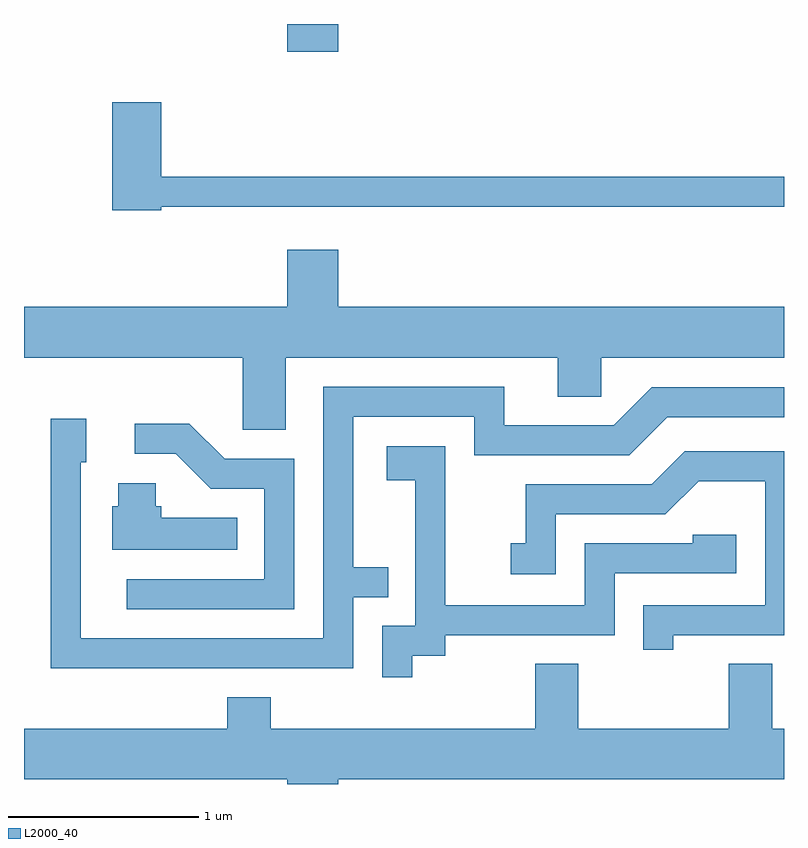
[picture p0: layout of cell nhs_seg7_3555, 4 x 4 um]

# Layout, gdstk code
import gdstk
lib = gdstk.Library(unit=1e-6, precision=1e-09)
def R(c, l, rs):  # rectangles x0, y0, x1, y1
    for r in rs: c.add(gdstk.rectangle(r[:2], r[2:], *l))
def P(c, l, *ps):  # polygons
    for p in ps: c.add(gdstk.Polygon(p, *l))
L2000_40 = (2000, 40)

nhs_seg7_3555 = lib.new_cell('nhs_seg7_3555')
R(nhs_seg7_3555, L2000_40, [(294.996,1758.106,295.264,1758.252)])
P(nhs_seg7_3555, L2000_40, [(294.334,1757.291),(297.611,1757.291),(297.611,1757.449),(294.334,1757.449),(294.334,1757.839),(294.076,1757.839),(294.076,1757.271),(294.334,1757.271)],
  [(295.264,1757.064),(294.996,1757.064),(294.996,1756.764),(293.611,1756.764),(293.611,1756.496),(294.761,1756.496),(294.761,1756.116),(294.989,1756.116),(294.989,1756.496),(296.421,1756.496),(296.421,1756.291),(296.649,1756.291),(296.649,1756.496),(297.611,1756.496),(297.611,1756.764),(295.264,1756.764)],
  [(295.344,1755.236),(295.528,1755.236),(295.528,1755.394),(295.344,1755.394),(295.344,1756.186),(295.981,1756.186),(295.981,1755.981),(296.797,1755.981),(296.997,1756.181),(297.611,1756.181),(297.611,1756.339),(296.914,1756.339),(296.714,1756.139),(296.139,1756.139),(296.139,1756.344),(295.186,1756.344),(295.186,1755.019),(293.909,1755.019),(293.909,1755.946),(293.939,1755.946),(293.939,1756.174),(293.751,1756.174),(293.751,1754.861),(295.344,1754.861)],
  [(295.034,1755.964),(294.667,1755.964),(294.482,1756.149),(294.193,1756.149),(294.193,1755.991),(294.409,1755.991),(294.594,1755.806),(294.876,1755.806),(294.876,1755.329),(294.153,1755.329),(294.153,1755.171),(295.034,1755.171)],
  [(295.654,1754.926),(295.829,1754.926),(295.829,1755.036),(296.719,1755.036),(296.719,1755.361),(297.359,1755.361),(297.359,1755.564),(297.131,1755.564),(297.131,1755.519),(296.561,1755.519),(296.561,1755.194),(295.829,1755.194),(295.829,1756.029),(295.521,1756.029),(295.521,1755.851),(295.671,1755.851),(295.671,1755.084),(295.496,1755.084),(295.496,1754.813),(295.654,1754.813)],
  [(297.029,1755.036),(297.611,1755.036),(297.611,1756.004),(297.089,1756.004),(296.914,1755.829),(296.251,1755.829),(296.251,1755.519),(296.173,1755.519),(296.173,1755.356),(296.409,1755.356),(296.409,1755.671),(296.987,1755.671),(297.162,1755.846),(297.511,1755.846),(297.511,1755.194),(296.871,1755.194),(296.871,1754.958),(297.029,1754.958)],
  [(294.733,1755.654),(294.334,1755.654),(294.334,1755.714),(294.304,1755.714),(294.304,1755.834),(294.106,1755.834),(294.106,1755.714),(294.076,1755.714),(294.076,1755.486),(294.733,1755.486)],
  [(295.264,1754.276),(297.611,1754.276),(297.611,1754.544),(297.549,1754.544),(297.549,1754.884),(297.321,1754.884),(297.321,1754.544),(296.529,1754.544),(296.529,1754.884),(296.301,1754.884),(296.301,1754.544),(294.909,1754.544),(294.909,1754.709),(294.681,1754.709),(294.681,1754.544),(293.611,1754.544),(293.611,1754.276),(294.996,1754.276),(294.996,1754.252),(295.264,1754.252)])

lib.write_gds('nhs_seg7_3555.gds')
